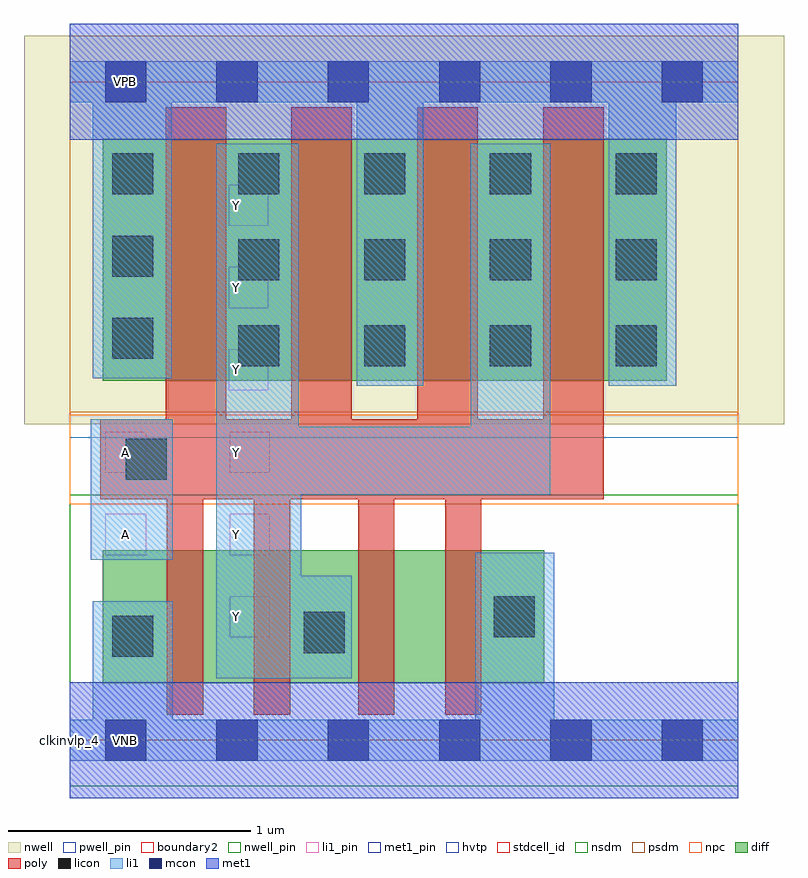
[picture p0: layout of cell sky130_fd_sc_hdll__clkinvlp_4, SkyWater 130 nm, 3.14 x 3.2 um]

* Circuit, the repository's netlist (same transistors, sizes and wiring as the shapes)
* Copyright 2020 The SkyWater PDK Authors
*
* Licensed under the Apache License, Version 2.0 (the "License");
* you may not use this file except in compliance with the License.
* You may obtain a copy of the License at
*
*     https://www.apache.org/licenses/LICENSE-2.0
*
* Unless required by applicable law or agreed to in writing, software
* distributed under the License is distributed on an "AS IS" BASIS,
* WITHOUT WARRANTIES OR CONDITIONS OF ANY KIND, either express or implied.
* See the License for the specific language governing permissions and
* limitations under the License.
*
* SPDX-License-Identifier: Apache-2.0

.SUBCKT sky130_fd_sc_hdll__clkinvlp_4 A VGND VNB VPB VPWR Y
*.PININFO A:I VGND:I VNB:I VPB:I VPWR:I Y:O
MMIP0 Y A VPWR VPB sky130_fd_pr__pfet_01v8_hvt m=4 w=1.0U l=0.25U mult=1 sa=0.265
+ sb=0.265 sd=0.28 area=0.063 perim=1.14
MMIN0 Y A net31 VNB sky130_fd_pr__nfet_01v8 m=1 w=0.55U l=0.15U mult=1 sa=0.265
+ sb=0.265 sd=0.28 area=0.063 perim=1.14
MI7 net35 A VGND VNB sky130_fd_pr__nfet_01v8 m=1 w=0.55U l=0.15U mult=1 sa=0.265
+ sb=0.265 sd=0.28 area=0.063 perim=1.14
MI6 net31 A VGND VNB sky130_fd_pr__nfet_01v8 m=1 w=0.55U l=0.15U mult=1 sa=0.265
+ sb=0.265 sd=0.28 area=0.063 perim=1.14
MI5 Y A net35 VNB sky130_fd_pr__nfet_01v8 m=1 w=0.55U l=0.15U mult=1 sa=0.265 sb=0.265
+ sd=0.28 area=0.063 perim=1.14
.ENDS sky130_fd_sc_hdll__clkinvlp_4

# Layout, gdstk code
import gdstk
lib = gdstk.Library(unit=1e-6, precision=1e-09)
def R(c, l, rs):  # rectangles x0, y0, x1, y1
    for r in rs: c.add(gdstk.rectangle(r[:2], r[2:], *l))
def A(c, l, x, y, w, h, nx, ny, dx, dy):  # array of equal rectangles
    R(c, l, [(x+i*dx, y+j*dy, x+i*dx+w, y+j*dy+h) for i in range(nx) for j in range(ny)])
def P(c, l, *ps):  # polygons
    for p in ps: c.add(gdstk.Polygon(p, *l))
nwell_pin = (64, 16)
nwell = (64, 20)
diff = (65, 20)
poly = (66, 20)
licon = (66, 44)
li1_pin = (67, 16)
li1 = (67, 20)
mcon = (67, 44)
met1_pin = (68, 16)
met1 = (68, 20)
hvtp = (78, 44)
stdcell_id = (81, 4)
nsdm = (93, 44)
psdm = (94, 20)
npc = (95, 20)
pwell_pin = (122, 16)
boundary2 = (236, 0)

sky130_fd_sc_hdll__clkin = lib.new_cell('sky130_fd_sc_hdll__clkinvlp_4')
R(sky130_fd_sc_hdll__clkin, nwell_pin, [(0.145,2.635,0.315,2.805)])
R(sky130_fd_sc_hdll__clkin, nwell, [(-0.19,1.305,2.95,2.91)])
R(sky130_fd_sc_hdll__clkin, diff, [(0.135,0.235,1.96,0.785), (0.135,1.485,2.465,2.485)])
P(sky130_fd_sc_hdll__clkin, poly, [(2.205,2.615),(1.955,2.615),(1.955,1.325),(1.685,1.325),(1.685,2.615),(1.435,2.615),(1.435,1.325),(1.165,1.325),(1.165,2.615),(0.915,2.615),(0.915,1.325),(0.645,1.325),(0.645,2.615),(0.395,2.615),(0.395,1.325),(0.125,1.325),(0.125,0.995),(0.4,0.995),(0.4,0.105),(0.55,0.105),(0.55,0.995),(0.76,0.995),(0.76,0.105),(0.91,0.105),(0.91,0.995),(1.19,0.995),(1.19,0.105),(1.34,0.105),(1.34,0.995),(1.55,0.995),(1.55,0.105),(1.7,0.105),(1.7,0.995),(2.205,0.995)])
A(sky130_fd_sc_hdll__clkin, licon, 0.695, 1.545, 0.17, 0.17, 4, 2, 0.52, 0.355)
A(sky130_fd_sc_hdll__clkin, licon, 0.175, 2.255, 0.17, 0.17, 5, 1, 0.52, 0)
R(sky130_fd_sc_hdll__clkin, licon, [(0.175,0.345,0.345,0.515), (0.965,0.36,1.135,0.53), (1.75,0.425,1.92,0.595), (0.23,1.075,0.4,1.245), (0.175,1.575,0.345,1.745), (0.175,1.915,0.345,2.085)])
A(sky130_fd_sc_hdll__clkin, li1_pin, 0.66, 0.425, 0.165, 0.17, 1, 3, 0, 0.34)
A(sky130_fd_sc_hdll__clkin, li1_pin, 0.655, 1.445, 0.165, 0.17, 1, 3, 0, 0.34)
R(sky130_fd_sc_hdll__clkin, li1_pin, [(0.145,0.765,0.315,0.935), (0.145,1.105,0.315,1.275)])
R(sky130_fd_sc_hdll__clkin, li1, [(0.085,0.745,0.425,1.325)])
P(sky130_fd_sc_hdll__clkin, li1, [(2.76,0.085),(2,0.085),(2,0.775),(1.675,0.775),(1.675,0.085),(0.425,0.085),(0.425,0.575),(0.095,0.575),(0.095,0.085),(0,0.085),(0,-0.085),(2.76,-0.085)],
  [(2.76,2.805),(0,2.805),(0,2.635),(0.095,2.635),(0.095,1.495),(0.42,1.495),(0.42,2.635),(1.185,2.635),(1.185,1.465),(1.46,1.465),(1.46,2.635),(2.225,2.635),(2.225,1.465),(2.505,1.465),(2.505,2.635),(2.76,2.635)],
  [(1.985,2.465),(1.655,2.465),(1.655,1.295),(0.945,1.295),(0.945,2.465),(0.605,2.465),(0.605,0.255),(1.165,0.255),(1.165,0.68),(0.955,0.68),(0.955,1.015),(1.985,1.015)])
R(sky130_fd_sc_hdll__clkin, mcon, [(0.145,-0.085,0.315,0.085), (0.605,-0.085,0.775,0.085), (0.605,-0.085,0.775,0.085), (1.065,-0.085,1.235,0.085), (1.065,-0.085,1.235,0.085), (1.525,-0.085,1.695,0.085), (1.525,-0.085,1.695,0.085), (1.985,-0.085,2.155,0.085), (1.985,-0.085,2.155,0.085), (2.445,-0.085,2.615,0.085), (2.445,-0.085,2.615,0.085), (0.145,2.635,0.315,2.805), (0.605,2.635,0.775,2.805), (0.605,2.635,0.775,2.805), (1.065,2.635,1.235,2.805), (1.065,2.635,1.235,2.805), (1.525,2.635,1.695,2.805), (1.525,2.635,1.695,2.805), (1.985,2.635,2.155,2.805), (1.985,2.635,2.155,2.805), (2.445,2.635,2.615,2.805), (2.445,2.635,2.615,2.805)])
R(sky130_fd_sc_hdll__clkin, met1_pin, [(0.145,-0.085,0.315,0.085), (0.145,2.635,0.315,2.805)])
R(sky130_fd_sc_hdll__clkin, met1, [(0,-0.24,2.76,0.24), (0,2.48,2.76,2.96)])
R(sky130_fd_sc_hdll__clkin, hvtp, [(0,1.25,2.76,2.72)])
R(sky130_fd_sc_hdll__clkin, stdcell_id, [(0,0,2.76,2.72)])
R(sky130_fd_sc_hdll__clkin, nsdm, [(0,-0.19,2.76,1.015)])
R(sky130_fd_sc_hdll__clkin, psdm, [(0,1.355,2.76,2.91)])
R(sky130_fd_sc_hdll__clkin, npc, [(0,0.975,2.76,1.345)])
R(sky130_fd_sc_hdll__clkin, pwell_pin, [(0.145,-0.085,0.315,0.085)])
R(sky130_fd_sc_hdll__clkin, boundary2, [(0,0,2.76,2.72)])
sky130_fd_sc_hdll__clkin.add(gdstk.Label('A', (0.23,1.19), layer=67, texttype=5))
sky130_fd_sc_hdll__clkin.add(gdstk.Label('Y', (0.69,0.51), layer=67, texttype=5))
sky130_fd_sc_hdll__clkin.add(gdstk.Label('Y', (0.69,0.85), layer=67, texttype=5))
sky130_fd_sc_hdll__clkin.add(gdstk.Label('Y', (0.69,1.19), layer=67, texttype=5))
sky130_fd_sc_hdll__clkin.add(gdstk.Label('Y', (0.69,1.53), layer=67, texttype=5))
sky130_fd_sc_hdll__clkin.add(gdstk.Label('Y', (0.69,1.87), layer=67, texttype=5))
sky130_fd_sc_hdll__clkin.add(gdstk.Label('Y', (0.69,2.21), layer=67, texttype=5))
sky130_fd_sc_hdll__clkin.add(gdstk.Label('A', (0.23,0.85), layer=67, texttype=5))
sky130_fd_sc_hdll__clkin.add(gdstk.Label('VNB', (0.23,0), layer=64, texttype=59))
sky130_fd_sc_hdll__clkin.add(gdstk.Label('VPB', (0.23,2.72), layer=64, texttype=5))
sky130_fd_sc_hdll__clkin.add(gdstk.Label('VPWR', (0.23,2.72), layer=68, texttype=5))
sky130_fd_sc_hdll__clkin.add(gdstk.Label('VGND', (0.23,0), layer=68, texttype=5))
sky130_fd_sc_hdll__clkin.add(gdstk.Label('clkinvlp_4', (0,0), layer=83, texttype=44))

lib.write_gds('sky130_fd_sc_hdll__clkinvlp_4.gds')
